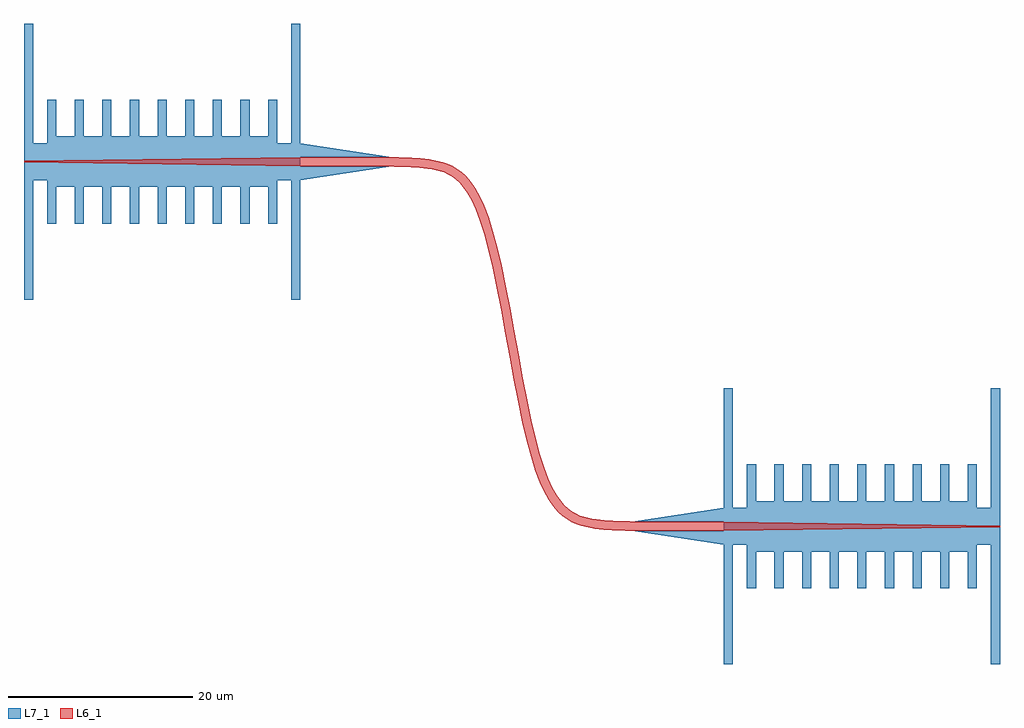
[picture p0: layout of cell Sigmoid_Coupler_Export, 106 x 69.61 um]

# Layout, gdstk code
from math import pi, radians
import gdstk
lib = gdstk.Library(unit=1e-6, precision=1e-09)
def R(c, l, rs):  # rectangles x0, y0, x1, y1
    for r in rs: c.add(gdstk.rectangle(r[:2], r[2:], *l))
def A(c, l, x, y, w, h, nx, ny, dx, dy):  # array of equal rectangles
    R(c, l, [(x+i*dx, y+j*dy, x+i*dx+w, y+j*dy+h) for i in range(nx) for j in range(ny)])
def P(c, l, *ps):  # polygons
    for p in ps: c.add(gdstk.Polygon(p, *l))
L6_1 = (6, 1)
L7_1 = (7, 1)

sigmoidcouplersigmoidcou = lib.new_cell('SigmoidCouplerSigmoidCoupler_v4_')
sigmoidcouplersigmoidcou.add(gdstk.FlexPath([(-23,39.607),(-20.677,39.607),(-20.212,39.606),(-18.354,39.606),(-17.889,39.605),(-17.424,39.605),(-16.96,39.604),(-16.03,39.602),(-15.566,39.6),(-15.101,39.598),(-14.636,39.595),(-14.172,39.592),(-13.707,39.588),(-13.242,39.582),(-12.778,39.574),(-12.313,39.565),(-11.848,39.553),(-11.384,39.537),(-10.919,39.516),(-10.455,39.489),(-9.99,39.454),(-9.525,39.41),(-9.061,39.352),(-8.596,39.277),(-8.131,39.181),(-7.667,39.057),(-7.202,38.898),(-6.737,38.693),(-6.273,38.432),(-5.808,38.099),(-5.343,37.676),(-4.879,37.142),(-4.414,36.473),(-3.949,35.642),(-3.485,34.62),(-3.02,33.381),(-2.556,31.903),(-2.091,30.172),(-1.626,28.193),(-1.162,25.985),(-0.697,23.593),(-0.232,21.081),(0.232,18.526),(0.697,16.014),(1.162,13.622),(1.626,11.414),(2.091,9.435),(2.556,7.704),(3.02,6.226),(3.485,4.987),(3.949,3.965),(4.414,3.134),(4.879,2.465),(5.343,1.931),(5.808,1.508),(6.273,1.175),(6.737,0.914),(7.202,0.709),(7.667,0.55),(8.131,0.426),(8.596,0.33),(9.061,0.255),(9.525,0.197),(9.99,0.153),(10.455,0.118),(10.919,0.091),(11.384,0.07),(11.848,0.054),(12.313,0.042),(12.778,0.033),(13.242,0.025),(13.707,0.019),(14.172,0.015),(14.636,0.012),(15.101,0.009),(15.566,0.007),(16.03,0.005),(16.96,0.003),(17.424,0.002),(17.889,0.002),(18.354,0.001),(20.212,0.001),(20.677,0),(23,0)], 1, ends="flush", simple_path=True, layer=6, datatype=1))  # L6_1

couplerbody = lib.new_cell('CouplerBody')
couplerbody.add(gdstk.Reference(sigmoidcouplersigmoidcou, (-23,0.5)))

couplerinlet = lib.new_cell('CouplerInlet')
P(couplerinlet, L6_1, [(-3.954,47.146),(-33.954,47.571),(-33.954,47.721),(-3.954,48.146)])
R(couplerinlet, L7_1, [(-33.954,45.646,-3.954,49.646)])

anchoredcouplerinlet_woc = lib.new_cell('AnchoredCouplerInlet_woComb_Expo')
R(anchoredcouplerinlet_woc, L7_1, [(16.5,9.075,17.5,22.075), (45.5,9.075,46.5,22.075), (16.5,26.075,17.5,39.075), (45.5,26.075,46.5,39.075)])
anchoredcouplerinlet_woc.add(gdstk.Reference(couplerinlet, (50.454,-23.571)))

comb_l4w1_g500_d500_stop = lib.new_cell('Comb_L4W1_G500_D500_StoppersCent')
A(comb_l4w1_g500_d500_stop, L7_1, 19, 19.075, 1, 1.3, 9, 1, 3, 0)
A(comb_l4w1_g500_d500_stop, L7_1, 19, 19.825, 1, 4, 9, 1, 3, 0)
R(comb_l4w1_g500_d500_stop, L7_1, [(19,19.075,44,19.825)])

actuator_stopperscenter_ = lib.new_cell('Actuator_StoppersCenter_Export')
actuator_stopperscenter_.add(gdstk.Reference(anchoredcouplerinlet_woc, (45.412,-2.987)))
actuator_stopperscenter_.add(gdstk.Reference(comb_l4w1_g500_d500_stop, (108.412,38.163), rotation=pi))
actuator_stopperscenter_.add(gdstk.Reference(comb_l4w1_g500_d500_stop, (45.412,4.013)))

sigmoid_coupler_export = lib.new_cell('Sigmoid_Coupler_Export')
P(sigmoid_coupler_export, L7_1, [(27.909,-15.032),(37.909,-13.532),(37.909,-15.032)],
  [(37.909,-17.532),(27.909,-16.032),(37.909,-16.032)],
  [(-8.091,22.075),(-8.091,23.575),(1.909,23.575)],
  [(-8.091,24.575),(-8.091,26.075),(1.909,24.575)])
sigmoid_coupler_export.add(gdstk.Reference(couplerbody, (37.909,-16.032)))
sigmoid_coupler_export.add(gdstk.Reference(actuator_stopperscenter_, (129.821,5.556), rotation=pi))
sigmoid_coupler_export.add(gdstk.Reference(actuator_stopperscenter_, (-100.003,2.987)))

lib.write_gds('Sigmoid_Coupler_Export.gds')
